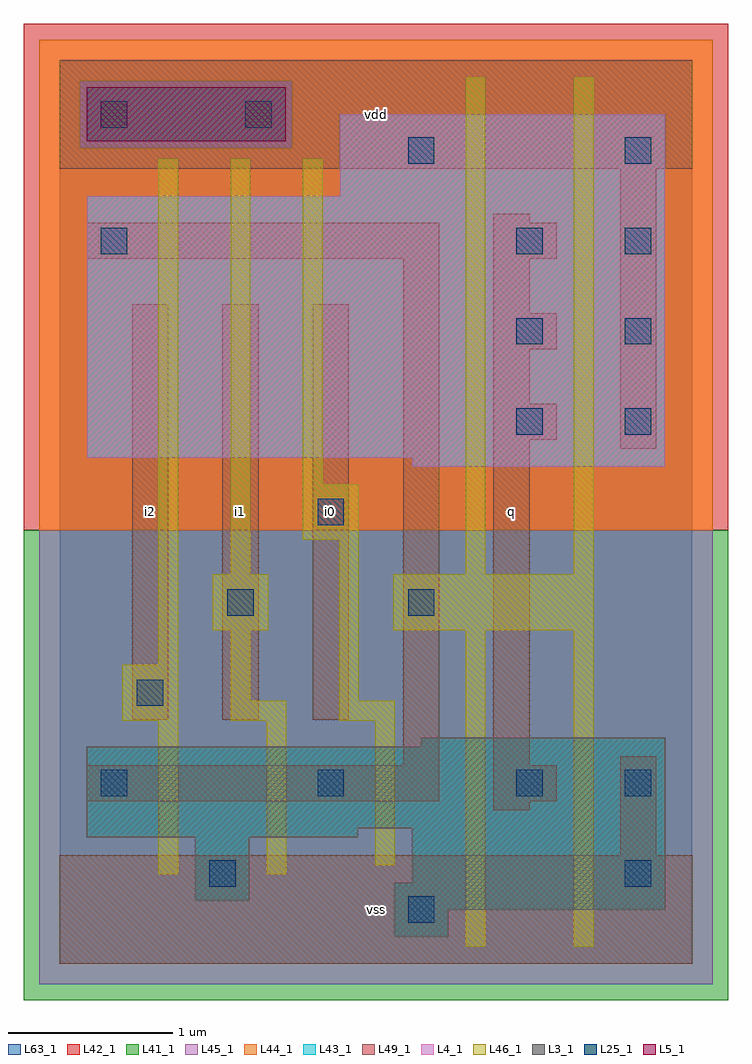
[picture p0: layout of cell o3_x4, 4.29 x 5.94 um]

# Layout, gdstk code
import gdstk
lib = gdstk.Library(unit=1e-6, precision=1e-09)
def R(c, l, rs):  # rectangles x0, y0, x1, y1
    for r in rs: c.add(gdstk.rectangle(r[:2], r[2:], *l))
def A(c, l, x, y, w, h, nx, ny, dx, dy):  # array of equal rectangles
    R(c, l, [(x+i*dx, y+j*dy, x+i*dx+w, y+j*dy+h) for i in range(nx) for j in range(ny)])
L3_1 = (3, 1)
L4_1 = (4, 1)
L5_1 = (5, 1)
L25_1 = (25, 1)
L41_1 = (41, 1)
L42_1 = (42, 1)
L43_1 = (43, 1)
L44_1 = (44, 1)
L45_1 = (45, 1)
L46_1 = (46, 1)
L49_1 = (49, 1)
L63_1 = (63, 1)

o3_x4 = lib.new_cell('o3_x4')
R(o3_x4, L3_1, [(2.035,0.165,2.365,0.33), (2.035,0.33,3.685,0.495), (0.825,0.385,1.155,0.77), (2.145,0.495,3.685,0.825), (0.165,0.77,1.815,0.825), (0.165,0.825,3.685,1.32), (2.2,1.32,3.685,1.375)])
R(o3_x4, L4_1, [(2.145,3.025,3.685,3.08), (0.165,3.08,3.685,4.675), (1.705,4.675,3.685,5.17)])
R(o3_x4, L5_1, [(0.165,5.005,1.375,5.335)])
A(o3_x4, L25_1, 2.78, 3.22, 0.16, 0.16, 1, 3, 0, 0.55)
A(o3_x4, L25_1, 3.44, 3.22, 0.16, 0.16, 1, 4, 0, 0.55)
R(o3_x4, L25_1, [(2.12,0.25,2.28,0.41), (0.91,0.47,1.07,0.63), (3.44,0.47,3.6,0.63), (0.25,1.02,0.41,1.18), (1.57,1.02,1.73,1.18), (2.78,1.02,2.94,1.18), (3.44,1.02,3.6,1.18), (0.47,1.57,0.63,1.73), (1.02,2.12,1.18,2.28), (2.12,2.12,2.28,2.28), (1.57,2.67,1.73,2.83), (0.25,4.32,0.41,4.48), (2.12,4.87,2.28,5.03), (0.25,5.09,0.41,5.25), (1.13,5.09,1.29,5.25)])
R(o3_x4, L41_1, [(-0.22,-0.22,4.07,2.64)])
R(o3_x4, L42_1, [(-0.22,2.64,4.07,5.72)])
R(o3_x4, L43_1, [(2.035,0.165,2.365,0.33), (2.035,0.33,3.685,0.495), (0.825,0.385,1.155,0.77), (2.145,0.495,3.685,0.825), (0.165,0.77,1.815,0.825), (0.165,0.825,3.685,1.32), (2.2,1.32,3.685,1.375), (2.145,3.025,3.685,3.08), (0.165,3.08,3.685,4.675), (1.705,4.675,3.685,5.17), (0.165,5.005,1.375,5.335)])
R(o3_x4, L44_1, [(-0.125,2.64,3.975,4.965), (-0.125,4.965,0.125,5.375), (1.415,4.965,3.975,5.375), (-0.125,5.375,3.975,5.625)])
R(o3_x4, L45_1, [(-0.125,-0.125,3.975,2.64), (0.125,4.965,1.415,5.375)])
R(o3_x4, L46_1, [(2.47,0.105,2.59,2.03), (3.13,0.105,3.25,2.03), (0.6,0.545,0.72,1.48), (1.26,0.545,1.38,1.48), (1.92,0.6,2.04,1.48), (0.38,1.48,0.72,1.82), (1.04,1.48,1.38,1.6), (1.7,1.48,2.04,1.6), (1.04,1.6,1.16,2.03), (1.7,1.6,1.82,2.58), (0.6,1.82,0.72,4.9), (0.93,2.03,1.27,2.37), (2.03,2.03,3.25,2.37), (1.04,2.37,1.16,4.9), (2.47,2.37,2.59,5.395), (3.13,2.37,3.25,5.395), (1.48,2.58,1.82,2.92), (1.48,2.92,1.6,4.9)])
A(o3_x4, L49_1, 0.44, 1.485, 0.22, 2.53, 3, 1, 0.55, 0)
A(o3_x4, L49_1, 2.64, 3.19, 0.385, 0.22, 1, 3, 0, 0.55)
R(o3_x4, L49_1, [(0,0,3.85,0.66), (3.41,0.66,3.63,1.265), (2.64,0.935,2.86,0.99), (0.165,0.99,2.31,1.21), (2.64,0.99,3.025,1.21), (2.09,1.21,2.31,4.29), (2.64,1.21,2.86,3.19), (3.41,3.135,3.63,4.84), (2.64,3.41,2.86,3.74), (2.64,3.96,2.86,4.29), (0.165,4.29,2.31,4.51), (2.64,4.51,2.86,4.565), (0,4.84,3.85,5.5)])
R(o3_x4, L63_1, [(0,0,3.85,5.5)])
o3_x4.add(gdstk.Label('i2', (0.55,2.75), layer=49, texttype=1))
o3_x4.add(gdstk.Label('i0', (1.65,2.75), layer=49, texttype=1))
o3_x4.add(gdstk.Label('i1', (1.1,2.75), layer=49, texttype=1))
o3_x4.add(gdstk.Label('vss', (1.925,0.33), layer=49, texttype=1))
o3_x4.add(gdstk.Label('q', (2.75,2.75), layer=49, texttype=1))
o3_x4.add(gdstk.Label('vdd', (1.925,5.17), layer=49, texttype=1))

lib.write_gds('o3_x4.gds')
